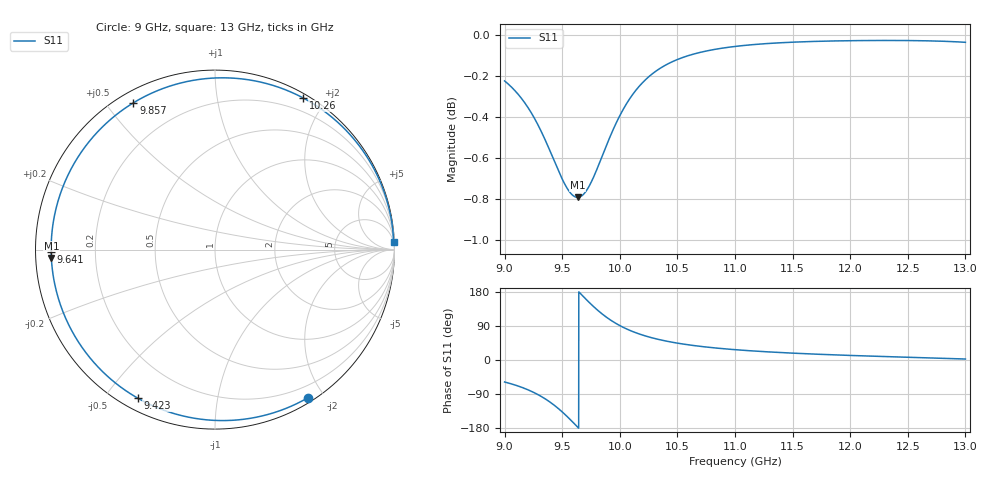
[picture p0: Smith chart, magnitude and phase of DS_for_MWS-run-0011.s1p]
! TOUCHSTONE file generated by CST DESIGN STUDIO
! Date and time: Tue Feb  4 14:31:40 2025
! Project name: C:\Work\MatlabApps\UnitCellOptimizationMatlab\CST\unitcell.cst
! Tree item: Tasks\Sweep1\SPara1\S-Parameters
! Header version: 2024
! Port assignment regex: !\s*Touchstone port\s*([0-9]+)\s*=\s*(CST MWS port|CST DES external port|CST DES block port)\s*(.+)\s* \(\"(.*)\"\)(\s*mode\s*([0-9]+))?.*
! Touchstone port assignment:
! Touchstone port 1 = CST DES external port 1 ("")
# GHz S MA R 50
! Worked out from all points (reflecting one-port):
!   4001 points, 9 GHz to 13 GHz, reference 50 ohm
!   lowest |S11| = -0.8 dB at 9.634 GHz (marker M1), VSWR 21.96, Z = 2.28 - j1.28 ohm
!   phase of S11 starts at -58 deg and turns -299 deg over the sweep
!   S11 on the Smith chart (normalised r, x): 9 GHz: 0.06, -1.80; 9.423 GHz: 0.05, -0.61; 9.641 GHz: 0.05, -0.01; 9.857 GHz: 0.04, +0.59; 10.26 GHz: 0.05, +1.74; 13 GHz: 4, +44
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9  0.9744 -58.1
9.107  0.9679 -67.6
9.214  0.9589 -80.1
9.33  0.9457 -98.3
9.378  0.9392 -107.7
9.423  0.9328 -117.5
9.462  0.9273 -127.0
9.5  0.9223 -137.0
9.572  0.9151 -157.8
9.634  0.9129 -177.1
9.641  0.9129 -179.3
9.686  0.9145 166.6
9.733  0.9185 152.3
9.795  0.9264 134.7
9.857  0.9357 119.1
9.924  0.9456 104.5
10  0.9556 90.8
10.062  0.9624 81.5
10.126  0.9682 73.4
10.264  0.9773 59.8
10.374  0.9822 51.7
10.5  0.9861 44.5
10.719  0.9904 35.3
11  0.9934 27.2
11.5  0.9957 18.1
12  0.9966 12.0
12.5  0.9966 7.2
13  0.9957 2.6
